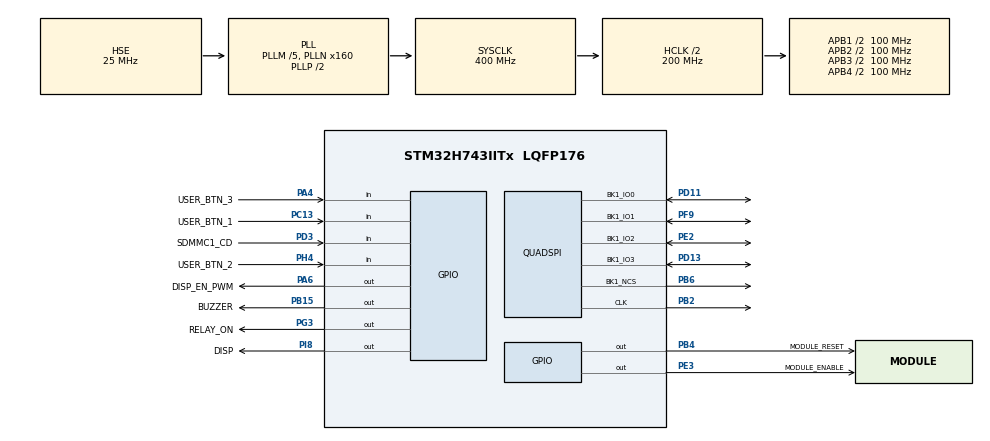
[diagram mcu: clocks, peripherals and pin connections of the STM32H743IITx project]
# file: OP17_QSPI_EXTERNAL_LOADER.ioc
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CORTEX_M7.AccessPermission-Cortex_Memory_Protection_Unit_Region0_Settings=MPU_REGION_FULL_ACCESS
CORTEX_M7.BaseAddress-Cortex_Memory_Protection_Unit_Region0_Settings=0xD0000000
CORTEX_M7.CPU_DCache=Disabled
CORTEX_M7.CPU_ICache=Disabled
CORTEX_M7.Enable-Cortex_Memory_Protection_Unit_Region0_Settings=MPU_REGION_ENABLE
CORTEX_M7.IsCacheable-Cortex_Memory_Protection_Unit_Region0_Settings=MPU_ACCESS_CACHEABLE
CORTEX_M7.MPU_Control=__NULL
CORTEX_M7.Size-Cortex_Memory_Protection_Unit_Region0_Settings=MPU_REGION_SIZE_32MB
Mcu.Family=STM32H7
Mcu.Name=STM32H743IITx
Mcu.Package=LQFP176
NVIC.PriorityGroup=NVIC_PRIORITYGROUP_4
PA13\ (JTMS/SWDIO).Mode=Serial_Wire
PA13\ (JTMS/SWDIO).Signal=DEBUG_JTMS-SWDIO
PA14\ (JTCK/SWCLK).Mode=Serial_Wire
PA14\ (JTCK/SWCLK).Signal=DEBUG_JTCK-SWCLK
PA4.GPIO_Label=USER_BTN_3
PA4.GPIO_PuPd=GPIO_PULLUP
PA4.Signal=GPIO_Input
PA6.GPIO_Label=DISP_EN_PWM
PA6.Signal=GPIO_Output
PB15.GPIO_Label=BUZZER
PB15.Signal=GPIO_Output
PB2.GPIO_Speed=GPIO_SPEED_FREQ_VERY_HIGH
PB2.Mode=Single Bank 1
PB2.Signal=QUADSPI_CLK
PB4\ (NJTRST).GPIO_Label=MODULE_RESET
PB4\ (NJTRST).Signal=GPIO_Output
PB6.GPIO_Speed=GPIO_SPEED_FREQ_VERY_HIGH
PB6.Mode=Single Bank 1
PB6.Signal=QUADSPI_BK1_NCS
PC13.GPIO_Label=USER_BTN_1
PC13.GPIO_PuPd=GPIO_PULLUP
PC13.Signal=GPIO_Input
PD11.GPIO_Speed=GPIO_SPEED_FREQ_VERY_HIGH
PD11.Mode=Single Bank 1
PD11.Signal=QUADSPI_BK1_IO0
PD13.GPIO_Speed=GPIO_SPEED_FREQ_VERY_HIGH
PD13.Mode=Single Bank 1
PD13.Signal=QUADSPI_BK1_IO3
PD3.GPIO_Label=SDMMC1_CD
PD3.GPIO_PuPd=GPIO_PULLUP
PD3.Signal=GPIO_Input
PE2.GPIO_Speed=GPIO_SPEED_FREQ_VERY_HIGH
PE2.Mode=Single Bank 1
PE2.Signal=QUADSPI_BK1_IO2
PE3.GPIO_Label=MODULE_ENABLE
PE3.Signal=GPIO_Output
PF9.GPIO_Speed=GPIO_SPEED_FREQ_VERY_HIGH
PF9.Mode=Single Bank 1
PF9.Signal=QUADSPI_BK1_IO1
PG3.GPIO_Label=RELAY_ON
PG3.GPIO_Speed=GPIO_SPEED_FREQ_HIGH
PG3.PinState=GPIO_PIN_SET
PG3.Signal=GPIO_Output
PH0-OSC_IN\ (PH0).Mode=HSE-External-Oscillator
PH0-OSC_IN\ (PH0).Signal=RCC_OSC_IN
PH1-OSC_OUT\ (PH1).Mode=HSE-External-Oscillator
PH1-OSC_OUT\ (PH1).Signal=RCC_OSC_OUT
PH4.GPIO_Label=USER_BTN_2
PH4.GPIO_PuPd=GPIO_PULLUP
PH4.Signal=GPIO_Input
PI8.GPIO_Label=DISP
PI8.Signal=GPIO_Output
PWR.PVDLevel=PWR_PVDLEVEL_6
ProjectManager.HeapSize=0x7000
ProjectManager.StackSize=0x3000
ProjectManager.TargetToolchain=STM32CubeIDE
QUADSPI.ChipSelectHighTime=QSPI_CS_HIGH_TIME_6_CYCLE
QUADSPI.ClockPrescaler=3
QUADSPI.FifoThreshold=4
QUADSPI.FlashSize=24
QUADSPI.SampleShifting=QSPI_SAMPLE_SHIFTING_HALFCYCLE
RCC.ADCFreq_Value=360000000
RCC.APB1Freq_Value=100000000
RCC.APB2Freq_Value=100000000
RCC.APB3Freq_Value=100000000
RCC.APB4Freq_Value=100000000
RCC.CortexFreq_Value=400000000
RCC.D1PPRE=RCC_APB3_DIV2
RCC.D2PPRE1=RCC_APB1_DIV2
RCC.D2PPRE2=RCC_APB2_DIV2
RCC.D3PPRE=RCC_APB4_DIV2
RCC.DIVM1=5
RCC.DIVM2=5
RCC.DIVM3=25
RCC.DIVN1=160
RCC.DIVN2=144
RCC.DIVN3=192
RCC.DIVQ1=4
RCC.DIVR1=4
RCC.DIVR2=4
RCC.DIVR3=6
RCC.FMCCLockSelection=RCC_FMCCLKSOURCE_PLL2
RCC.HCLKFreq_Value=200000000
RCC.HPRE=RCC_HCLK_DIV2
RCC.PLLSourceVirtual=RCC_PLLSOURCE_HSE
RCC.QSPICLockSelection=RCC_QSPICLKSOURCE_PLL
RCC.SYSCLKFreq_VALUE=400000000
RCC.SYSCLKSource=RCC_SYSCLKSOURCE_PLLCLK
RCC.USBFreq_Value=200000000
STMicroelectronics.X-CUBE-TOUCHGFX.4.18.0.tgfx_address1=0xD0000000
STMicroelectronics.X-CUBE-TOUCHGFX.4.18.0.tgfx_address2=0xD0119400
STMicroelectronics.X-CUBE-TOUCHGFX.4.18.0.tgfx_buffering_strategy=Double
STMicroelectronics.X-CUBE-TOUCHGFX.4.18.0.tgfx_display_interface=disp_ltdc
STMicroelectronics.X-CUBE-TOUCHGFX.4.18.0.tgfx_hardware_accelerator=dma_2d
STMicroelectronics.X-CUBE-TOUCHGFX.4.18.0.tgfx_location=By Address
STMicroelectronics.X-CUBE-TOUCHGFX.4.18.0.tgfx_vsync=vsync_ltdc
STMicroelectronics.X-CUBE-TOUCHGFX.4.18.0_IsPackSelfContextualization=true
VP_PWR_V_PVD_IN.Mode=Mode_PVD_Int
board=custom

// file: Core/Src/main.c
/* USER CODE BEGIN Header */
/**
 ******************************************************************************
 * @file           : main.c
 * @brief          : Main program body
 ******************************************************************************
 * @attention
 *
 * Copyright (c) 2021 STMicroelectronics.
 * All rights reserved.
 *
 * This software is licensed under terms that can be found in the LICENSE file
 * in the root directory of this software component.
 * If no LICENSE file comes with this software, it is provided AS-IS.
 *
 ******************************************************************************
 */
/* USER CODE END Header */
#include "main.h"
#include "quadspi.h"
#include "gpio.h"

void SystemClock_Config(void);

/* USER CODE BEGIN 0 */
#include <string.h>

/** Тут W25Q64 - 8МБ с секторами размером 4 кбайт. Тогда тут 8192 / 4 = 2048 секторов */
#define SECTORS_COUNT				100

/* USER CODE END 0 */

int main(void)
{

	/* MCU Configuration--------------------------------------------------------*/

	/* Reset of all peripherals, Initializes the Flash interface and the Systick. */
	HAL_Init();

	/* Configure the system clock */
	SystemClock_Config();

	/* Initialize all configured peripherals */
	MX_GPIO_Init();
	MX_QUADSPI_Init();
	/* USER CODE BEGIN 2 */

	uint8_t buffer_test[MEMORY_SECTOR_SIZE];
	uint32_t var = 0;

	CSP_QUADSPI_Init();

	for (var = 0; var < MEMORY_SECTOR_SIZE; var++)
	{
		buffer_test[var] = (var & 0xff);
	}

	for (var = 0; var < SECTORS_COUNT; var++)
	{
		if (CSP_QSPI_EraseSectorWithPending(var * MEMORY_SECTOR_SIZE, (var + 1) * (MEMORY_SECTOR_SIZE - 1))
				!= HAL_OK)
		{
			while (1); 		// breakpoint - error detected
		}

		if (CSP_QSPI_WriteMemory(buffer_test, var * MEMORY_SECTOR_SIZE, sizeof(buffer_test))
				!= HAL_OK)
		{
			while (1);		// breakpoint - error detected
		}
	}

	if (CSP_QSPI_EnableMemoryMappedMode_QuadIO() != HAL_OK)
	{
		while (1);			// breakpoint - error detected
	}

	uint8_t firstValue = *(uint8_t*)(0x90000000 + 0 * MEMORY_SECTOR_SIZE);

	for (var = 0; var < SECTORS_COUNT; var++)
	{
		if (memcmp(buffer_test, (uint8_t*)(0x90000000 + var * MEMORY_SECTOR_SIZE),
				MEMORY_SECTOR_SIZE) != HAL_OK)
		{
			while (1);		// breakpoint - error detected - otherwise QSPI works properly
		}
	}

	/* USER CODE END 2 */

	/* Infinite loop */
	while (1)
	{

	}
}

void SystemClock_Config(void)
{
	RCC_OscInitTypeDef RCC_OscInitStruct = { 0 };
	RCC_ClkInitTypeDef RCC_ClkInitStruct = { 0 };

	/** Supply configuration update enable
	 */
	HAL_PWREx_ConfigSupply(PWR_LDO_SUPPLY);
	/** Configure the main internal regulator output voltage
	 */
	__HAL_PWR_VOLTAGESCALING_CONFIG(PWR_REGULATOR_VOLTAGE_SCALE1);

	while (!__HAL_PWR_GET_FLAG(PWR_FLAG_VOSRDY))
	{
	}
	/** Initializes the RCC Oscillators according to the specified parameters
	 * in the RCC_OscInitTypeDef structure.
	 */
	RCC_OscInitStruct.OscillatorType = RCC_OSCILLATORTYPE_HSE;
	RCC_OscInitStruct.HSEState = RCC_HSE_ON;
	RCC_OscInitStruct.PLL.PLLState = RCC_PLL_ON;
	RCC_OscInitStruct.PLL.PLLSource = RCC_PLLSOURCE_HSE;
	RCC_OscInitStruct.PLL.PLLM = 5;
	RCC_OscInitStruct.PLL.PLLN = 160;
	RCC_OscInitStruct.PLL.PLLP = 2;
	RCC_OscInitStruct.PLL.PLLQ = 4;
	RCC_OscInitStruct.PLL.PLLR = 4;
	RCC_OscInitStruct.PLL.PLLRGE = RCC_PLL1VCIRANGE_2;
	RCC_OscInitStruct.PLL.PLLVCOSEL = RCC_PLL1VCOWIDE;
	RCC_OscInitStruct.PLL.PLLFRACN = 0;
	if (HAL_RCC_OscConfig(&RCC_OscInitStruct) != HAL_OK)
	{
		Error_Handler();
	}
	/** Initializes the CPU, AHB and APB buses clocks
	 */
	RCC_ClkInitStruct.ClockType = RCC_CLOCKTYPE_HCLK | RCC_CLOCKTYPE_SYSCLK
			| RCC_CLOCKTYPE_PCLK1 | RCC_CLOCKTYPE_PCLK2
			| RCC_CLOCKTYPE_D3PCLK1 | RCC_CLOCKTYPE_D1PCLK1;
	RCC_ClkInitStruct.SYSCLKSource = RCC_SYSCLKSOURCE_PLLCLK;
	RCC_ClkInitStruct.SYSCLKDivider = RCC_SYSCLK_DIV1;
	RCC_ClkInitStruct.AHBCLKDivider = RCC_HCLK_DIV2;
	RCC_ClkInitStruct.APB3CLKDivider = RCC_APB3_DIV2;
	RCC_ClkInitStruct.APB1CLKDivider = RCC_APB1_DIV2;
	RCC_ClkInitStruct.APB2CLKDivider = RCC_APB2_DIV2;
	RCC_ClkInitStruct.APB4CLKDivider = RCC_APB4_DIV2;

	if (HAL_RCC_ClockConfig(&RCC_ClkInitStruct, FLASH_LATENCY_2) != HAL_OK)
	{
		Error_Handler();
	}
}

void Error_Handler(void)
{
	/* USER CODE BEGIN Error_Handler_Debug */
	/* User can add his own implementation to report the HAL error return state */
	__disable_irq();
	while (1)
	{
		__NOP();
	}
	/* USER CODE END Error_Handler_Debug */
}
